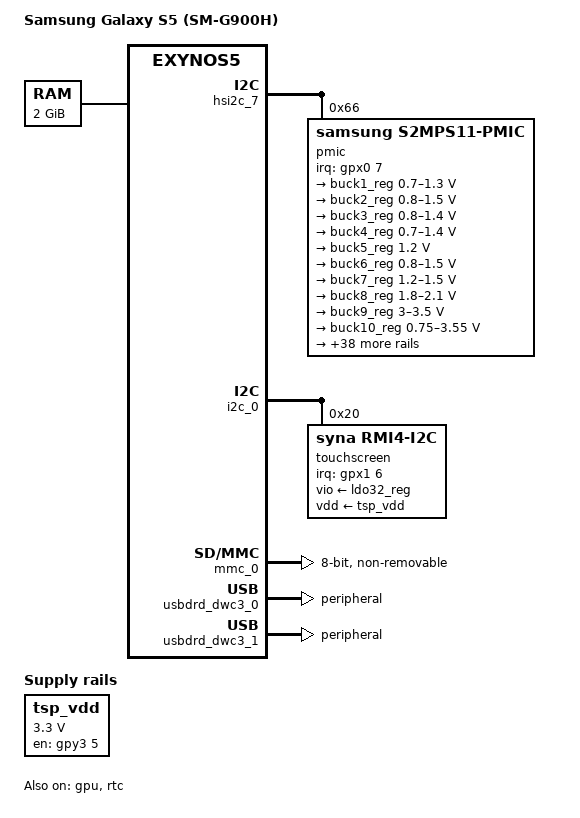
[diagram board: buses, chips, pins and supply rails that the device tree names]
// SPDX-License-Identifier: GPL-2.0
/*
 * Samsung Galaxy S5 (SM-G900H) device-tree source
 *
 * Copyright (c) 2023 Markuss Broks
 */

/dts-v1/;
#include <dt-bindings/clock/samsung,s2mps11.h>
#include <dt-bindings/gpio/gpio.h>
#include <dt-bindings/interrupt-controller/irq.h>
#include "exynos5800.dtsi"
#include "exynos5422-cpus.dtsi"

/ {
	model = "Samsung Galaxy S5 (SM-G900H)";
	compatible = "samsung,k3g", "samsung,exynos5800", \
		     "samsung,exynos5";

	chassis-type = "handset";

	memory@20000000 {
		device_type = "memory";
		reg = <0x20000000 0x80000000>; /* 2 GiB */
	};

	fixed-rate-clocks {
		oscclk {
			compatible = "samsung,exynos5420-oscclk";
			clock-frequency = <24000000>;
		};
	};

	firmware@2073000 {
		compatible = "samsung,secure-firmware";
		reg = <0x02073000 0x1000>;
	};

	tsp_vdd: regulator-tsp-vdd-en {
		compatible = "regulator-fixed";
		regulator-name = "tsp_vdd_en";
		regulator-min-microvolt = <3300000>;
		regulator-max-microvolt = <3300000>;
		gpio = <&gpy3 5 GPIO_ACTIVE_HIGH>;
		enable-active-high;
	};
};

&cpu0 {
	cpu-supply = <&buck2_reg>;
};

&cpu4 {
	cpu-supply = <&buck6_reg>;
};

&gpu {
	status = "okay";
	mali-supply = <&buck4_reg>;
};

&hsi2c_7 {
	status = "okay";

	pmic@66 {
		compatible = "samsung,s2mps11-pmic";
		reg = <0x66>;

		interrupt-parent = <&gpx0>;
		interrupts = <7 IRQ_TYPE_LEVEL_LOW>;
		wakeup-source;

		pinctrl-names = "default";
		pinctrl-0 = <&s2mps11_irq>;

		s2mps11_osc: clocks {
			compatible = "samsung,s2mps11-clk";
			#clock-cells = <1>;
			clock-output-names = "s2mps11_ap",
					     "s2mps11_cp", "s2mps11_bt";
		};

		regulators {
			buck1_reg: BUCK1 {
				regulator-name = "VDD_MIF";
				regulator-min-microvolt = <700000>;
				regulator-max-microvolt = <1300000>;
				regulator-always-on;
				regulator-boot-on;

				regulator-state-mem {
					regulator-off-in-suspend;
				};
			};

			buck2_reg: BUCK2 {
				regulator-name = "VDD_ARM";
				regulator-min-microvolt = <800000>;
				regulator-max-microvolt = <1500000>;
				regulator-always-on;
				regulator-boot-on;

				regulator-state-mem {
					regulator-off-in-suspend;
				};
			};

			buck3_reg: BUCK3 {
				regulator-name = "VDD_INT";
				regulator-min-microvolt = <800000>;
				regulator-max-microvolt = <1400000>;
				regulator-always-on;
				regulator-boot-on;

				regulator-state-mem {
					regulator-off-in-suspend;
				};
			};

			buck4_reg: BUCK4 {
				regulator-name = "VDD_G3D";
				regulator-min-microvolt = <700000>;
				regulator-max-microvolt = <1400000>;
				regulator-always-on;
				regulator-boot-on;

				regulator-state-mem {
					regulator-off-in-suspend;
				};
			};

			buck5_reg: BUCK5 {
				regulator-name = "VDD_MEM";
				regulator-min-microvolt = <1200000>;
				regulator-max-microvolt = <1200000>;
				regulator-always-on;
				regulator-boot-on;

				regulator-state-mem {
					regulator-off-in-suspend;
				};
			};

			buck6_reg: BUCK6 {
				regulator-name = "VDD_KFC";
				regulator-min-microvolt = <800000>;
				regulator-max-microvolt = <1500000>;
				regulator-always-on;
				regulator-boot-on;

				regulator-state-mem {
					regulator-off-in-suspend;
				};
			};

			buck7_reg: BUCK7 {
				regulator-name = "VIN_LLDO";
				regulator-min-microvolt = <1200000>;
				regulator-max-microvolt = <1500000>;
				regulator-always-on;
			};

			buck8_reg: BUCK8 {
				regulator-name = "VIN_MLDO";
				regulator-min-microvolt = <1800000>;
				regulator-max-microvolt = <2100000>;
				regulator-always-on;
			};

			buck9_reg: BUCK9 {
				regulator-name = "VIN_HLDO";
				regulator-min-microvolt = <3000000>;
				regulator-max-microvolt = <3500000>;
				regulator-always-on;
			};

			buck10_reg: BUCK10 {
				regulator-name = "VDD_CAM_ISP";
				regulator-min-microvolt = <750000>;
				regulator-max-microvolt = <3550000>;
			};

			ldo1_reg: LDO1 {
				regulator-name = "VDD_ALIVE";
				regulator-min-microvolt = <1000000>;
				regulator-max-microvolt = <1000000>;
				regulator-always-on;
			};

			ldo2_reg: LDO2 {
				regulator-name = "VDD_APIO";
				regulator-min-microvolt = <1800000>;
				regulator-max-microvolt = <1800000>;
				regulator-always-on;
				regulator-boot-on;

				regulator-state-mem {
					regulator-on-in-suspend;
				};
			};

			ldo3_reg: LDO3 {
				regulator-name = "VDD_APIO_MMC01";
				regulator-min-microvolt = <1800000>;
				regulator-max-microvolt = <1800000>;
				regulator-always-on;

				regulator-state-mem {
					regulator-off-in-suspend;
				};
			};

			ldo4_reg: LDO4 {
				regulator-name = "VDD_ADC";
				regulator-min-microvolt = <1800000>;
				regulator-max-microvolt = <1800000>;
				regulator-always-on;
				regulator-boot-on;

				regulator-state-mem {
					regulator-on-in-suspend;
				};
			};

			ldo5_reg: LDO5 {
				regulator-name = "VDD_HRM_1V8";
				regulator-min-microvolt = <1800000>;
				regulator-max-microvolt = <1800000>;
			};

			ldo6_reg: LDO6 {
				regulator-name = "VDD_MIPI";
				regulator-min-microvolt = <1000000>;
				regulator-max-microvolt = <1000000>;
				regulator-always-on;
				regulator-boot-on;

				regulator-state-mem {
					regulator-off-in-suspend;
				};
			};

			ldo7_reg: LDO7 {
				regulator-name = "VDD_MIPI_PLL_ABB1";
				regulator-min-microvolt = <1800000>;
				regulator-max-microvolt = <1800000>;
				regulator-always-on;
				regulator-boot-on;

				regulator-state-mem {
					regulator-off-in-suspend;
				};
			};

			ldo8_reg: LDO8 {
				regulator-name = "VDD_VTF";
				regulator-min-microvolt = <1800000>;
				regulator-max-microvolt = <1800000>;
				regulator-always-on;

				regulator-state-mem {
					regulator-on-in-suspend;
				};
			};

			ldo9_reg: LDO9 {
				regulator-name = "VDD_UOTG";
				regulator-min-microvolt = <3000000>;
				regulator-max-microvolt = <3000000>;
				regulator-always-on;
				regulator-boot-on;

				regulator-state-mem {
					regulator-on-in-suspend;
				};
			};

			ldo10_reg: LDO10 {
				regulator-name = "VDDQ_PRE";
				regulator-min-microvolt = <1800000>;
				regulator-max-microvolt = <1800000>;
				regulator-always-on;
				regulator-boot-on;

				regulator-state-mem {
					regulator-on-in-suspend;
				};
			};

			ldo11_reg: LDO11 {
				regulator-name = "VDD_HSIC_1V0";
				regulator-min-microvolt = <1000000>;
				regulator-max-microvolt = <1000000>;
				regulator-always-on;
				regulator-boot-on;

				regulator-state-mem {
					regulator-on-in-suspend;
				};
			};

			ldo12_reg: LDO12 {
				regulator-name = "VDD_HSIC_1V8";
				regulator-min-microvolt = <1800000>;
				regulator-max-microvolt = <1800000>;
				regulator-always-on;
				regulator-boot-on;

				regulator-state-mem {
					regulator-on-in-suspend;
				};
			};

			ldo13_reg: LDO13 {
				regulator-name = "VDD_APIO_MMC2";
				regulator-min-microvolt = <1800000>;
				regulator-max-microvolt = <2800000>;
				regulator-boot-on;

				regulator-state-mem {
					regulator-off-in-suspend;
				};
			};

			ldo14_reg: LDO14 {
				regulator-name = "VDD_MOTOR";
				regulator-min-microvolt = <3000000>;
				regulator-max-microvolt = <3000000>;

				regulator-state-mem {
					regulator-off-in-suspend;
				};
			};

			ldo15_reg: LDO15 {
				regulator-name = "VDD_CAM1_2V8";
				regulator-min-microvolt = <2800000>;
				regulator-max-microvolt = <2800000>;

				regulator-state-mem {
					regulator-off-in-suspend;
				};
			};

			ldo16_reg: LDO16 {
				regulator-name = "VDD_AP";
				regulator-min-microvolt = <2800000>;
				regulator-max-microvolt = <2800000>;
				regulator-always-on;
				regulator-boot-on;

				regulator-state-mem {
					regulator-on-in-suspend;
				};
			};

			ldo17_reg: LDO17 {
				/* Unused */
				regulator-name = "VDD_LDO17";
			};

			ldo18_reg: LDO18 {
				regulator-name = "VDD_CODEC";
				regulator-min-microvolt = <1800000>;
				regulator-max-microvolt = <1800000>;
				regulator-always-on;

				regulator-state-mem {
					regulator-on-in-suspend;
				};
			};

			ldo19_reg: LDO19 {
				regulator-name = "VDD_VMMC";
				regulator-min-microvolt = <2800000>;
				regulator-max-microvolt = <2800000>;

				regulator-state-mem {
					regulator-on-in-suspend;
				};
			};

			ldo20_reg: LDO20 {
				regulator-name = "VDD_CAM1_1V8";
				regulator-min-microvolt = <1800000>;
				regulator-max-microvolt = <1800000>;

				regulator-state-mem {
					regulator-off-in-suspend;
				};
			};

			ldo21_reg: LDO21 {
				regulator-name = "VDD_CAM_IO";
				regulator-min-microvolt = <1800000>;
				regulator-max-microvolt = <1800000>;

				regulator-state-mem {
					regulator-off-in-suspend;
				};
			};

			ldo22_reg: LDO22 {
				regulator-name = "VDD_CAM0_S_CORE";
				regulator-min-microvolt = <1200000>;
				regulator-max-microvolt = <1200000>;

				regulator-state-mem {
					regulator-off-in-suspend;
				};
			};

			ldo23_reg: LDO23 {
				regulator-name = "VDD_MIFS";
				regulator-min-microvolt = <800000>;
				regulator-max-microvolt = <1100000>;
				regulator-always-on;

				regulator-state-mem {
					regulator-on-in-suspend;
				};
			};

			ldo24_reg: LDO24 {
				regulator-name = "VDD_MHL_3V3";
				regulator-min-microvolt = <3300000>;
				regulator-max-microvolt = <3300000>;

				regulator-state-mem {
					regulator-off-in-suspend;
				};
			};

			ldo25_reg: LDO25 {
				regulator-name = "VDD_LCD_1V8";
				regulator-min-microvolt = <1800000>;
				regulator-max-microvolt = <1800000>;

				regulator-state-mem {
					regulator-off-in-suspend;
				};
			};

			ldo26_reg: LDO26 {
				regulator-name = "VDD_CAM0_AF";
				regulator-min-microvolt = <2800000>;
				regulator-max-microvolt = <2800000>;

				regulator-state-mem {
					regulator-off-in-suspend;
				};
			};

			ldo27_reg: LDO27 {
				regulator-name = "VDD_G3DS";
				regulator-min-microvolt = <800000>;
				regulator-max-microvolt = <1100000>;
				regulator-always-on;

				regulator-state-mem {
					regulator-on-in-suspend;
				};
			};

			ldo28_reg: LDO28 {
				regulator-name = "VDD_LCD_3V0";
				regulator-min-microvolt = <3000000>;
				regulator-max-microvolt = <3000000>;

				regulator-state-mem {
					regulator-off-in-suspend;
				};
			};

			ldo29_reg: LDO29 {
				/* Unused */
				regulator-name = "VDD_LDO29";
			};

			ldo30_reg: LDO30 {
				regulator-name = "VDD_TOUCH";
				regulator-min-microvolt = <1800000>;
				regulator-max-microvolt = <1800000>;

				regulator-state-mem {
					regulator-off-in-suspend;
				};
			};

			ldo31_reg: LDO31 {
				regulator-name = "VDD_COMP";
				regulator-min-microvolt = <1800000>;
				regulator-max-microvolt = <1800000>;

				regulator-state-mem {
					regulator-off-in-suspend;
				};
			};

			ldo32_reg: LDO32 {
				regulator-name = "VDD_TOUCH_IO";
				regulator-min-microvolt = <1800000>;
				regulator-max-microvolt = <1800000>;

				regulator-state-mem {
					regulator-off-in-suspend;
				};
			};

			ldo33_reg: LDO33 {
				regulator-name = "VDD_MHL_1V8";
				regulator-min-microvolt = <1800000>;
				regulator-max-microvolt = <1800000>;

				regulator-state-mem {
					regulator-off-in-suspend;
				};
			};

			ldo34_reg: LDO34 {
				regulator-name = "VDD_HRM_3V3";
				regulator-min-microvolt = <3300000>;
				regulator-max-microvolt = <3300000>;

				regulator-state-mem {
					regulator-off-in-suspend;
				};
			};

			ldo35_reg: LDO35 {
				regulator-name = "VDD_SIL";
				regulator-min-microvolt = <1200000>;
				regulator-max-microvolt = <1200000>;

				regulator-state-mem {
					regulator-off-in-suspend;
				};
			};

			ldo36_reg: LDO36 {
				/* Unused */
				regulator-name = "VDD_LDO36";
				regulator-min-microvolt = <800000>;
				regulator-max-microvolt = <3950000>;
			};

			ldo37_reg: LDO37 {
				/* Unused */
				regulator-name = "VDD_LDO37";
				regulator-min-microvolt = <800000>;
				regulator-max-microvolt = <3950000>;
			};

			ldo38_reg: LDO38 {
				regulator-name = "VDD_KEY_LED";
				regulator-min-microvolt = <3300000>;
				regulator-max-microvolt = <3300000>;

				regulator-state-mem {
					regulator-off-in-suspend;
				};
			};
		};
	};
};

&i2c_0 {
	status = "okay";

	touchscreen@20 {
		compatible = "syna,rmi4-i2c";
		reg = <0x20>;
		interrupt-parent = <&gpx1>;
		interrupts = <6 IRQ_TYPE_EDGE_FALLING>;
		vio-supply = <&ldo32_reg>;
		vdd-supply = <&tsp_vdd>;
		syna,startup-delay-ms = <100>;

		pinctrl-0 = <&touch_irq>;
		pinctrl-names = "default";

		#address-cells = <1>;
		#size-cells = <0>;

		rmi4-f01@1 {
			reg = <0x1>;
			syna,nosleep-mode = <1>;
		};

		rmi4-f12@12 {
			reg = <0x12>;
			syna,sensor-type = <1>;
		};
	};
};

/* eMMC flash */
&mmc_0 {
	status = "okay";
	mmc-hs200-1_8v;
	cap-mmc-highspeed;
	non-removable;
	clock-frequency = <400000000>;
	samsung,dw-mshc-ciu-div = <3>;
	samsung,dw-mshc-sdr-timing = <0 4>;
	samsung,dw-mshc-ddr-timing = <0 2>;
	samsung,dw-mshc-hs400-timing = <0 2>;
	samsung,read-strobe-delay = <90>;
	pinctrl-names = "default";
	pinctrl-0 = <&sd0_clk &sd0_cmd &sd0_bus1 &sd0_bus4 &sd0_bus8 &sd0_rclk>;
	bus-width = <8>;
};

&pinctrl_0 {
	s2mps11_irq: s2mps11-irq-pins {
		samsung,pins = "gpx0-7";
		samsung,pin-function = <EXYNOS_PIN_FUNC_F>;
		samsung,pin-pud = <EXYNOS_PIN_PULL_NONE>;
		samsung,pin-drv = <EXYNOS5420_PIN_DRV_LV1>;
	};

	touch_irq: touch-irq-pins {
		samsung,pins = "gpx1-6";
		samsung,pin-pud = <EXYNOS_PIN_PULL_DOWN>;
	};
};

&rtc {
	status = "okay";
	clocks = <&clock CLK_RTC>, <&s2mps11_osc S2MPS11_CLK_AP>;
	clock-names = "rtc", "rtc_src";
};

&timer {
	arm,cpu-registers-not-fw-configured;
};

&tmu_cpu0 {
	vtmu-supply = <&ldo10_reg>;
};

&tmu_cpu1 {
	vtmu-supply = <&ldo10_reg>;
};

&tmu_cpu2 {
	vtmu-supply = <&ldo10_reg>;
};

&tmu_cpu3 {
	vtmu-supply = <&ldo10_reg>;
};

&tmu_gpu {
	vtmu-supply = <&ldo10_reg>;
};

&usbdrd_dwc3_0 {
	dr_mode = "peripheral";
};

&usbdrd_dwc3_1 {
	dr_mode = "peripheral";
};

&usbdrd3_0 {
	vdd33-supply = <&ldo9_reg>;
	vdd10-supply = <&ldo11_reg>;
};

&usbdrd3_1 {
	vdd33-supply = <&ldo9_reg>;
	vdd10-supply = <&ldo11_reg>;
};
